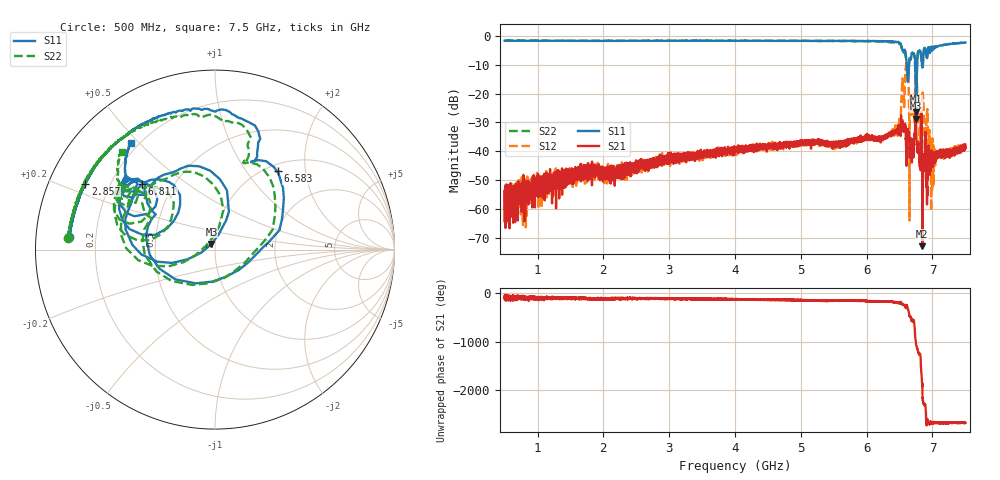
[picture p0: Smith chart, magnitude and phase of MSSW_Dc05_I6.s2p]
!Keysight Technologies,M9374A,MY55442783,A.12.55.05
!Date: Wednesday, May 19, 2021 19:31:12
!Correction: S11(Full 2 Port(1,2))
!S21(Full 2 Port(1,2))
!S12(Full 2 Port(1,2))
!S22(Full 2 Port(1,2))
!S2P File: Measurements: S11, S21, S12, S22:
# Hz S  RI  R 50
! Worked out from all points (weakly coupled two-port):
!   7001 points, 500 MHz to 7.5 GHz, reference 50 ohm
!   highest |S21| = -26.29 dB at 6.744 GHz (marker M1); lowest = -72.7 dB at 6.846 GHz (marker M2)
!   lowest |S11| = -28.7 dB at 6.752 GHz (marker M3), VSWR 1.08, Z = 47.9 + j2.94 ohm
!   |S11| at or under -10 dB: 6.607 GHz to 6.643 GHz (36.21 MHz wide, 0.547 % of centre); 6.73641 GHz to 6.767248 GHz (30.84 MHz wide, 0.457 % of centre); 6.840067 GHz to 6.854788 GHz (14.72 MHz wide, 0.215 % of centre)
!   |S22| runs from -25.8 to -1.7 dB; largest |S21 - S12| = 0.35
!   S11 on the Smith chart (normalised r, x): 500 MHz: 0.10, +0.04; 2.857 GHz: 0.11, +0.24; 6.583 GHz: 1.12, +1.42; 6.811 GHz: 0.33, +0.35; 7.5 GHz: 0.17, +0.47
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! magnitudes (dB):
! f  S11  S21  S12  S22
! 500 MHz  -1.8  -53.4  -54.4  -1.7
! 549 MHz  -1.8  -56.1  -58.0  -1.7
! 1.667 GHz  -1.8  -49.3  -49.2  -1.8
! 2.834 GHz  -1.8  -42.9  -43.6  -1.8
! 2.857 GHz  -1.8  -43.6  -43.0  -1.7
! 4 GHz  -1.8  -39.2  -39.0  -1.8
! 5.167 GHz  -1.9  -37.2  -36.9  -1.8
! 6.334 GHz  -2.0  -34.8  -34.2  -2.2
! 6.486 GHz  -2.3  -34.1  -32.6  -2.7
! 6.554 GHz  -5.5  -32.3  -17.3  -5.8
! 6.583 GHz  -5.1  -31.0  -14.6  -5.8
! 6.611 GHz  -11.1  -34.8  -8.8  -11.9
! 6.679 GHz  -6.9  -37.2  -25.5  -7.0
! 6.744 GHz  -15.2  -26.3  -14.2  -17.6
! 6.752 GHz  -28.7  -30.6  -13.0  -25.0
! 6.788 GHz  -5.5  -40.7  -26.8  -5.3
! 6.811 GHz  -5.3  -42.6  -33.5  -5.3
! 6.846 GHz  -11.0  -72.7  -20.8  -10.6
! 6.936 GHz  -4.2  -38.7  -38.8  -4.1
! 6.971 GHz  -5.4  -43.8  -38.3  -5.3
! 7.012 GHz  -3.8  -41.0  -37.2  -3.8
! 7.5 GHz  -2.4  -38.9  -38.5  -2.4
